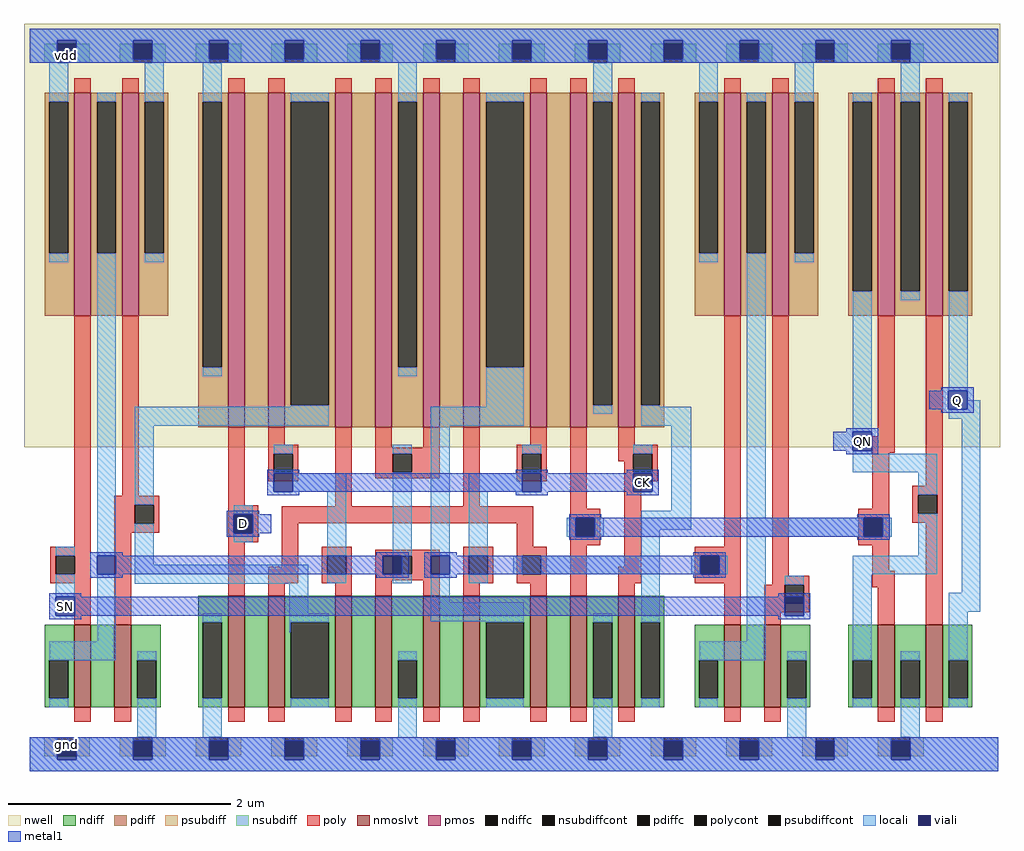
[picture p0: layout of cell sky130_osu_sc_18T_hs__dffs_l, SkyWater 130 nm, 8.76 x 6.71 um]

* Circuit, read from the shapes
.subckt sky130_osu_sc_18T_hs__dffs_l D CK QN Q
XM1 n1 SN n2 gnd sky130_fd_pr__nfet_01v8_lvt w=0.74 l=0.15
XM2 gnd n3 n1 gnd sky130_fd_pr__nfet_01v8_lvt w=0.74 l=0.15
XM3 n4 D gnd gnd sky130_fd_pr__nfet_01v8_lvt w=1 l=0.15
XM4 n3 n5 n4 gnd sky130_fd_pr__nfet_01v8_lvt w=1 l=0.15
XM5 n6 CK n3 gnd sky130_fd_pr__nfet_01v8_lvt w=1 l=0.15
XM6 gnd n2 n6 gnd sky130_fd_pr__nfet_01v8_lvt w=1 l=0.15
XM7 n7 n2 gnd gnd sky130_fd_pr__nfet_01v8_lvt w=1 l=0.15
XM8 n8 CK n7 gnd sky130_fd_pr__nfet_01v8_lvt w=1 l=0.15
XM9 n9 n5 n8 gnd sky130_fd_pr__nfet_01v8_lvt w=1 l=0.15
XM10 gnd n10 n9 gnd sky130_fd_pr__nfet_01v8_lvt w=1 l=0.15
XM11 n5 CK gnd gnd sky130_fd_pr__nfet_01v8_lvt w=1 l=0.15
XM12 n11 n8 n10 gnd sky130_fd_pr__nfet_01v8_lvt w=0.74 l=0.15
XM13 gnd SN n11 gnd sky130_fd_pr__nfet_01v8_lvt w=0.74 l=0.15
XM14 gnd n10 QN gnd sky130_fd_pr__nfet_01v8_lvt w=0.74 l=0.15
XM15 Q QN gnd gnd sky130_fd_pr__nfet_01v8_lvt w=0.74 l=0.15
XM16 n2 SN vdd vdd sky130_fd_pr__pfet_01v8 w=2 l=0.15
XM17 vdd n3 n2 vdd sky130_fd_pr__pfet_01v8 w=2 l=0.15
XM18 n12 D vdd vdd sky130_fd_pr__pfet_01v8 w=3 l=0.15
XM19 n3 CK n12 vdd sky130_fd_pr__pfet_01v8 w=3 l=0.15
XM20 n13 n5 n3 vdd sky130_fd_pr__pfet_01v8 w=3 l=0.15
XM21 vdd n2 n13 vdd sky130_fd_pr__pfet_01v8 w=3 l=0.15
XM22 n14 n2 vdd vdd sky130_fd_pr__pfet_01v8 w=3 l=0.15
XM23 n8 n5 n14 vdd sky130_fd_pr__pfet_01v8 w=3 l=0.15
XM24 n15 CK n8 vdd sky130_fd_pr__pfet_01v8 w=3 l=0.15
XM25 vdd n10 n15 vdd sky130_fd_pr__pfet_01v8 w=3 l=0.15
XM26 n5 CK vdd vdd sky130_fd_pr__pfet_01v8 w=3 l=0.15
XM27 n10 n8 vdd vdd sky130_fd_pr__pfet_01v8 w=2 l=0.15
XM28 vdd SN n10 vdd sky130_fd_pr__pfet_01v8 w=2 l=0.15
XM29 vdd n10 QN vdd sky130_fd_pr__pfet_01v8 w=2 l=0.15
XM30 Q QN vdd vdd sky130_fd_pr__pfet_01v8 w=2 l=0.15
.ends

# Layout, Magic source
magic
tech sky130A
magscale 1 2
<< nwell >>
rect -10 581 1741 1341
<< pmos >>
rect 80 817 110 1217
rect 166 817 196 1217
rect 356 617 386 1217
rect 428 617 458 1217
rect 548 617 578 1217
rect 620 617 650 1217
rect 706 617 736 1217
rect 778 617 808 1217
rect 898 617 928 1217
rect 970 617 1000 1217
rect 1056 617 1086 1217
rect 1246 817 1276 1217
rect 1332 817 1362 1217
rect 1522 817 1552 1217
rect 1608 817 1638 1217
<< nmoslvt >>
rect 80 115 110 263
rect 152 115 182 263
rect 356 115 386 315
rect 428 115 458 315
rect 548 115 578 315
rect 620 115 650 315
rect 706 115 736 315
rect 778 115 808 315
rect 898 115 928 315
rect 970 115 1000 315
rect 1056 115 1086 315
rect 1246 115 1276 263
rect 1318 115 1348 263
rect 1522 115 1552 263
rect 1608 115 1638 263
<< ndiff >>
rect 303 267 356 315
rect 27 199 80 263
rect 27 131 35 199
rect 69 131 80 199
rect 27 115 80 131
rect 110 115 152 263
rect 182 199 235 263
rect 182 131 193 199
rect 227 131 235 199
rect 182 115 235 131
rect 303 131 311 267
rect 345 131 356 267
rect 303 115 356 131
rect 386 115 428 315
rect 458 267 548 315
rect 458 131 469 267
rect 537 131 548 267
rect 458 115 548 131
rect 578 115 620 315
rect 650 199 706 315
rect 650 131 661 199
rect 695 131 706 199
rect 650 115 706 131
rect 736 115 778 315
rect 808 267 898 315
rect 808 131 819 267
rect 887 131 898 267
rect 808 115 898 131
rect 928 115 970 315
rect 1000 267 1056 315
rect 1000 131 1011 267
rect 1045 131 1056 267
rect 1000 115 1056 131
rect 1086 267 1139 315
rect 1086 131 1097 267
rect 1131 131 1139 267
rect 1086 115 1139 131
rect 1193 199 1246 263
rect 1193 131 1201 199
rect 1235 131 1246 199
rect 1193 115 1246 131
rect 1276 115 1318 263
rect 1348 199 1401 263
rect 1348 131 1359 199
rect 1393 131 1401 199
rect 1348 115 1401 131
rect 1469 199 1522 263
rect 1469 131 1477 199
rect 1511 131 1522 199
rect 1469 115 1522 131
rect 1552 199 1608 263
rect 1552 131 1563 199
rect 1597 131 1608 199
rect 1552 115 1608 131
rect 1638 199 1691 263
rect 1638 131 1649 199
rect 1683 131 1691 199
rect 1638 115 1691 131
<< pdiff >>
rect 27 1201 80 1217
rect 27 929 35 1201
rect 69 929 80 1201
rect 27 817 80 929
rect 110 1201 166 1217
rect 110 929 121 1201
rect 155 929 166 1201
rect 110 817 166 929
rect 196 1201 249 1217
rect 196 929 207 1201
rect 241 929 249 1201
rect 196 817 249 929
rect 303 1201 356 1217
rect 303 725 311 1201
rect 345 725 356 1201
rect 303 617 356 725
rect 386 617 428 1217
rect 458 1201 548 1217
rect 458 657 469 1201
rect 537 657 548 1201
rect 458 617 548 657
rect 578 617 620 1217
rect 650 1201 706 1217
rect 650 725 661 1201
rect 695 725 706 1201
rect 650 617 706 725
rect 736 617 778 1217
rect 808 1201 898 1217
rect 808 725 819 1201
rect 887 725 898 1201
rect 808 617 898 725
rect 928 617 970 1217
rect 1000 1201 1056 1217
rect 1000 657 1011 1201
rect 1045 657 1056 1201
rect 1000 617 1056 657
rect 1086 1201 1139 1217
rect 1086 657 1097 1201
rect 1131 657 1139 1201
rect 1193 1201 1246 1217
rect 1193 929 1201 1201
rect 1235 929 1246 1201
rect 1193 817 1246 929
rect 1276 1201 1332 1217
rect 1276 929 1287 1201
rect 1321 929 1332 1201
rect 1276 817 1332 929
rect 1362 1201 1415 1217
rect 1362 929 1373 1201
rect 1407 929 1415 1201
rect 1362 817 1415 929
rect 1469 1201 1522 1217
rect 1469 861 1477 1201
rect 1511 861 1522 1201
rect 1469 817 1522 861
rect 1552 1201 1608 1217
rect 1552 861 1563 1201
rect 1597 861 1608 1201
rect 1552 817 1608 861
rect 1638 1201 1691 1217
rect 1638 861 1649 1201
rect 1683 861 1691 1201
rect 1638 817 1691 861
rect 1086 617 1139 657
<< ndiffc >>
rect 35 131 69 199
rect 193 131 227 199
rect 311 131 345 267
rect 469 131 537 267
rect 661 131 695 199
rect 819 131 887 267
rect 1011 131 1045 267
rect 1097 131 1131 267
rect 1201 131 1235 199
rect 1359 131 1393 199
rect 1477 131 1511 199
rect 1563 131 1597 199
rect 1649 131 1683 199
<< pdiffc >>
rect 35 929 69 1201
rect 121 929 155 1201
rect 207 929 241 1201
rect 311 725 345 1201
rect 469 657 537 1201
rect 661 725 695 1201
rect 819 725 887 1201
rect 1011 657 1045 1201
rect 1097 657 1131 1201
rect 1201 929 1235 1201
rect 1287 929 1321 1201
rect 1373 929 1407 1201
rect 1477 861 1511 1201
rect 1563 861 1597 1201
rect 1649 861 1683 1201
<< psubdiff >>
rect 26 27 50 61
rect 84 27 108 61
rect 162 27 186 61
rect 220 27 244 61
rect 298 27 322 61
rect 356 27 380 61
rect 434 27 458 61
rect 492 27 516 61
rect 570 27 594 61
rect 628 27 652 61
rect 706 27 730 61
rect 764 27 788 61
rect 842 27 866 61
rect 900 27 924 61
rect 978 27 1002 61
rect 1036 27 1060 61
rect 1114 27 1138 61
rect 1172 27 1196 61
rect 1250 27 1274 61
rect 1308 27 1332 61
rect 1386 27 1410 61
rect 1444 27 1468 61
rect 1522 27 1546 61
rect 1580 27 1604 61
<< nsubdiff >>
rect 26 1271 50 1305
rect 84 1271 108 1305
rect 162 1271 186 1305
rect 220 1271 244 1305
rect 298 1271 322 1305
rect 356 1271 380 1305
rect 434 1271 458 1305
rect 492 1271 516 1305
rect 570 1271 594 1305
rect 628 1271 652 1305
rect 706 1271 730 1305
rect 764 1271 788 1305
rect 842 1271 866 1305
rect 900 1271 924 1305
rect 978 1271 1002 1305
rect 1036 1271 1060 1305
rect 1114 1271 1138 1305
rect 1172 1271 1196 1305
rect 1250 1271 1274 1305
rect 1308 1271 1332 1305
rect 1386 1271 1410 1305
rect 1444 1271 1468 1305
rect 1522 1271 1546 1305
rect 1580 1271 1604 1305
<< psubdiffcont >>
rect 50 27 84 61
rect 186 27 220 61
rect 322 27 356 61
rect 458 27 492 61
rect 594 27 628 61
rect 730 27 764 61
rect 866 27 900 61
rect 1002 27 1036 61
rect 1138 27 1172 61
rect 1274 27 1308 61
rect 1410 27 1444 61
rect 1546 27 1580 61
<< nsubdiffcont >>
rect 50 1271 84 1305
rect 186 1271 220 1305
rect 322 1271 356 1305
rect 458 1271 492 1305
rect 594 1271 628 1305
rect 730 1271 764 1305
rect 866 1271 900 1305
rect 1002 1271 1036 1305
rect 1138 1271 1172 1305
rect 1274 1271 1308 1305
rect 1410 1271 1444 1305
rect 1546 1271 1580 1305
<< poly >>
rect 80 1217 110 1243
rect 166 1217 196 1243
rect 356 1217 386 1243
rect 428 1217 458 1243
rect 548 1217 578 1243
rect 620 1217 650 1243
rect 706 1217 736 1243
rect 778 1217 808 1243
rect 898 1217 928 1243
rect 970 1217 1000 1243
rect 1056 1217 1086 1243
rect 1246 1217 1276 1243
rect 1332 1217 1362 1243
rect 1522 1217 1552 1243
rect 1608 1217 1638 1243
rect 80 403 110 817
rect 166 494 196 817
rect 37 387 110 403
rect 37 353 47 387
rect 81 353 110 387
rect 37 337 110 353
rect 80 263 110 337
rect 152 478 233 494
rect 152 444 189 478
rect 223 444 233 478
rect 152 428 233 444
rect 356 477 386 617
rect 428 586 458 617
rect 428 570 482 586
rect 428 536 438 570
rect 472 536 482 570
rect 428 520 482 536
rect 356 461 410 477
rect 548 475 578 617
rect 620 580 650 617
rect 706 580 736 617
rect 620 570 736 580
rect 620 536 652 570
rect 686 536 736 570
rect 620 526 736 536
rect 778 475 808 617
rect 898 586 928 617
rect 874 570 928 586
rect 874 536 884 570
rect 918 536 928 570
rect 874 520 928 536
rect 152 263 182 428
rect 356 427 366 461
rect 400 427 410 461
rect 356 411 410 427
rect 452 445 904 475
rect 356 315 386 411
rect 452 367 482 445
rect 874 403 904 445
rect 970 471 1000 617
rect 1056 586 1086 617
rect 1056 570 1127 586
rect 1056 556 1083 570
rect 1067 536 1083 556
rect 1117 536 1127 570
rect 1067 520 1127 536
rect 970 455 1024 471
rect 970 421 980 455
rect 1014 421 1024 455
rect 970 405 1024 421
rect 428 337 482 367
rect 524 387 578 403
rect 524 353 534 387
rect 568 353 578 387
rect 524 337 578 353
rect 428 315 458 337
rect 548 315 578 337
rect 620 387 736 397
rect 620 353 652 387
rect 686 353 736 387
rect 620 343 736 353
rect 620 315 650 343
rect 706 315 736 343
rect 778 387 832 403
rect 778 353 788 387
rect 822 353 832 387
rect 778 337 832 353
rect 874 387 928 403
rect 874 353 884 387
rect 918 353 928 387
rect 874 337 928 353
rect 778 315 808 337
rect 898 315 928 337
rect 970 315 1000 405
rect 1067 367 1097 520
rect 1246 403 1276 817
rect 1056 337 1097 367
rect 1193 387 1276 403
rect 1193 353 1203 387
rect 1237 353 1276 387
rect 1193 337 1276 353
rect 1056 315 1086 337
rect 1246 263 1276 337
rect 1332 351 1362 817
rect 1522 601 1552 817
rect 1512 571 1552 601
rect 1512 471 1542 571
rect 1608 512 1638 817
rect 1487 455 1542 471
rect 1487 421 1497 455
rect 1531 421 1542 455
rect 1584 496 1638 512
rect 1584 462 1594 496
rect 1628 462 1638 496
rect 1584 446 1638 462
rect 1487 405 1542 421
rect 1512 360 1542 405
rect 1332 335 1399 351
rect 1318 301 1355 335
rect 1389 301 1399 335
rect 1512 330 1552 360
rect 1318 285 1399 301
rect 1318 263 1348 285
rect 1522 263 1552 330
rect 1608 263 1638 446
rect 80 89 110 115
rect 152 89 182 115
rect 356 89 386 115
rect 428 89 458 115
rect 548 89 578 115
rect 620 89 650 115
rect 706 89 736 115
rect 778 89 808 115
rect 898 89 928 115
rect 970 89 1000 115
rect 1056 89 1086 115
rect 1246 89 1276 115
rect 1318 89 1348 115
rect 1522 89 1552 115
rect 1608 89 1638 115
<< polycont >>
rect 47 353 81 387
rect 189 444 223 478
rect 438 536 472 570
rect 652 536 686 570
rect 884 536 918 570
rect 366 427 400 461
rect 1083 536 1117 570
rect 980 421 1014 455
rect 534 353 568 387
rect 652 353 686 387
rect 788 353 822 387
rect 884 353 918 387
rect 1203 353 1237 387
rect 1497 421 1531 455
rect 1594 462 1628 496
rect 1355 301 1389 335
<< locali >>
rect 0 1311 1738 1332
rect 0 1271 50 1311
rect 84 1271 186 1311
rect 220 1271 322 1311
rect 356 1271 458 1311
rect 492 1271 594 1311
rect 628 1271 730 1311
rect 764 1271 866 1311
rect 900 1271 1002 1311
rect 1036 1271 1138 1311
rect 1172 1271 1274 1311
rect 1308 1271 1410 1311
rect 1444 1271 1546 1311
rect 1580 1271 1738 1311
rect 35 1201 69 1271
rect 35 913 69 929
rect 121 1201 155 1217
rect 47 387 81 403
rect 47 313 81 353
rect 121 387 155 929
rect 207 1201 241 1271
rect 207 913 241 929
rect 311 1201 345 1271
rect 311 709 345 725
rect 469 1201 537 1217
rect 661 1201 695 1271
rect 661 709 695 725
rect 819 1201 887 1217
rect 469 654 537 657
rect 819 654 887 725
rect 121 233 155 353
rect 189 620 537 654
rect 720 620 887 654
rect 1011 1201 1045 1271
rect 1011 641 1045 657
rect 1097 1201 1131 1217
rect 1201 1201 1235 1271
rect 1201 913 1235 929
rect 1287 1201 1321 1217
rect 1097 654 1131 657
rect 1097 620 1187 654
rect 189 478 223 620
rect 438 570 472 586
rect 438 535 472 536
rect 652 570 686 586
rect 472 501 568 535
rect 189 370 223 444
rect 366 461 400 477
rect 366 411 400 427
rect 534 387 568 501
rect 652 387 686 536
rect 189 336 500 370
rect 534 337 568 353
rect 652 337 686 353
rect 720 387 754 620
rect 884 570 918 586
rect 884 535 918 536
rect 466 283 500 336
rect 720 303 754 353
rect 788 501 884 535
rect 1083 570 1117 586
rect 1083 535 1117 536
rect 788 387 822 501
rect 1151 467 1187 620
rect 964 421 980 455
rect 1014 421 1030 455
rect 1097 433 1187 467
rect 1287 455 1321 929
rect 1373 1201 1407 1271
rect 1373 913 1407 929
rect 1477 1201 1511 1217
rect 1477 609 1511 861
rect 1563 1201 1597 1271
rect 1563 845 1597 861
rect 1649 1201 1683 1217
rect 1649 683 1683 861
rect 1682 666 1683 683
rect 1682 649 1706 666
rect 1649 632 1706 649
rect 1477 570 1511 575
rect 1477 536 1628 570
rect 1594 496 1628 536
rect 1097 387 1131 433
rect 1287 421 1497 455
rect 1531 421 1547 455
rect 868 353 884 387
rect 918 353 1131 387
rect 1187 353 1203 387
rect 1237 353 1253 387
rect 788 337 822 353
rect 35 199 155 233
rect 311 267 345 283
rect 193 199 227 215
rect 35 115 69 131
rect 193 61 227 131
rect 466 267 537 283
rect 720 269 887 303
rect 466 249 469 267
rect 311 61 345 131
rect 819 267 887 269
rect 469 115 537 131
rect 661 199 695 215
rect 661 61 695 131
rect 819 115 887 131
rect 1011 267 1045 283
rect 1011 61 1045 131
rect 1097 267 1131 353
rect 1287 233 1321 421
rect 1594 387 1628 462
rect 1477 353 1628 387
rect 1355 335 1389 351
rect 1097 115 1131 131
rect 1201 199 1321 233
rect 1359 199 1393 215
rect 1201 115 1235 131
rect 1359 61 1393 131
rect 1477 199 1511 353
rect 1672 320 1706 632
rect 1649 286 1706 320
rect 1477 115 1511 131
rect 1563 199 1597 215
rect 1563 61 1597 131
rect 1649 199 1683 286
rect 1649 115 1683 131
rect 0 21 50 61
rect 84 21 186 61
rect 220 21 322 61
rect 356 21 458 61
rect 492 21 594 61
rect 628 21 730 61
rect 764 21 866 61
rect 900 21 1002 61
rect 1036 21 1138 61
rect 1172 21 1274 61
rect 1308 21 1410 61
rect 1444 21 1546 61
rect 1580 21 1738 61
rect 0 0 1738 21
<< viali >>
rect 50 1305 84 1311
rect 50 1277 84 1305
rect 186 1305 220 1311
rect 186 1277 220 1305
rect 322 1305 356 1311
rect 322 1277 356 1305
rect 458 1305 492 1311
rect 458 1277 492 1305
rect 594 1305 628 1311
rect 594 1277 628 1305
rect 730 1305 764 1311
rect 730 1277 764 1305
rect 866 1305 900 1311
rect 866 1277 900 1305
rect 1002 1305 1036 1311
rect 1002 1277 1036 1305
rect 1138 1305 1172 1311
rect 1138 1277 1172 1305
rect 1274 1305 1308 1311
rect 1274 1277 1308 1305
rect 1410 1305 1444 1311
rect 1410 1277 1444 1305
rect 1546 1305 1580 1311
rect 1546 1277 1580 1305
rect 47 279 81 313
rect 121 353 155 387
rect 438 501 472 535
rect 366 427 400 461
rect 634 353 652 387
rect 652 353 668 387
rect 720 353 754 387
rect 884 501 918 535
rect 1083 501 1117 535
rect 980 421 1014 455
rect 1648 649 1682 683
rect 1477 575 1511 609
rect 1497 421 1531 455
rect 1203 353 1237 387
rect 1355 301 1389 313
rect 1355 279 1389 301
rect 50 27 84 55
rect 50 21 84 27
rect 186 27 220 55
rect 186 21 220 27
rect 322 27 356 55
rect 322 21 356 27
rect 458 27 492 55
rect 458 21 492 27
rect 594 27 628 55
rect 594 21 628 27
rect 730 27 764 55
rect 730 21 764 27
rect 866 27 900 55
rect 866 21 900 27
rect 1002 27 1036 55
rect 1002 21 1036 27
rect 1138 27 1172 55
rect 1138 21 1172 27
rect 1274 27 1308 55
rect 1274 21 1308 27
rect 1410 27 1444 55
rect 1410 21 1444 27
rect 1546 27 1580 55
rect 1546 21 1580 27
<< metal1 >>
rect 0 1311 1738 1332
rect 0 1277 50 1311
rect 84 1277 186 1311
rect 220 1277 322 1311
rect 356 1277 458 1311
rect 492 1277 594 1311
rect 628 1277 730 1311
rect 764 1277 866 1311
rect 900 1277 1002 1311
rect 1036 1277 1138 1311
rect 1172 1277 1274 1311
rect 1308 1277 1410 1311
rect 1444 1277 1546 1311
rect 1580 1277 1738 1311
rect 0 1271 1738 1277
rect 1636 683 1694 689
rect 1614 649 1648 683
rect 1682 649 1694 683
rect 1636 643 1694 649
rect 1465 609 1523 615
rect 1442 575 1477 609
rect 1511 575 1523 609
rect 1465 569 1523 575
rect 426 535 484 541
rect 872 535 930 541
rect 1071 535 1129 541
rect 426 501 438 535
rect 472 501 884 535
rect 918 501 1083 535
rect 1117 501 1129 535
rect 426 495 484 501
rect 872 495 930 501
rect 1071 495 1129 501
rect 354 461 412 467
rect 354 427 366 461
rect 400 427 434 461
rect 968 455 1026 461
rect 1485 455 1543 461
rect 354 421 412 427
rect 968 421 980 455
rect 1014 421 1497 455
rect 1531 421 1543 455
rect 968 415 1026 421
rect 1485 415 1543 421
rect 109 387 167 393
rect 622 387 680 393
rect 109 353 121 387
rect 155 353 634 387
rect 668 353 680 387
rect 109 347 167 353
rect 622 347 680 353
rect 708 387 766 393
rect 1191 387 1249 393
rect 708 353 720 387
rect 754 353 1203 387
rect 1237 353 1249 387
rect 708 347 766 353
rect 1191 347 1249 353
rect 35 313 93 319
rect 1343 313 1401 319
rect 35 279 47 313
rect 81 279 1355 313
rect 1389 279 1401 313
rect 35 273 93 279
rect 1343 273 1401 279
rect 0 55 1738 61
rect 0 21 50 55
rect 84 21 186 55
rect 220 21 322 55
rect 356 21 458 55
rect 492 21 594 55
rect 628 21 730 55
rect 764 21 866 55
rect 900 21 1002 55
rect 1036 21 1138 55
rect 1172 21 1274 55
rect 1308 21 1410 55
rect 1444 21 1546 55
rect 1580 21 1738 55
rect 0 0 1738 21
<< labels >>
rlabel viali 383 444 383 444 1 D
port 1 n
rlabel viali 1100 518 1100 518 1 CK
port 2 n
rlabel viali 1665 666 1665 666 1 Q
port 4 n
rlabel viali 1495 592 1495 592 1 QN
port 3 n
rlabel viali 64 296 64 296 1 SN
rlabel viali 67 48 67 48 1 gnd
rlabel viali 67 1284 67 1284 1 vdd
<< end >>
